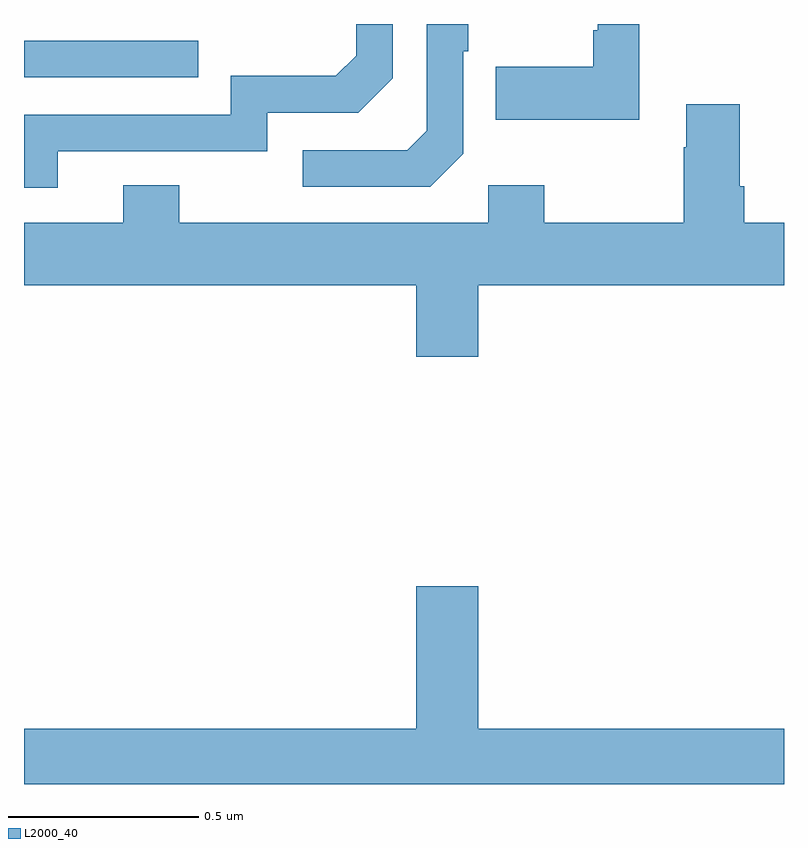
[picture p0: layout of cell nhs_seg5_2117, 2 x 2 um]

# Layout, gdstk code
import gdstk
lib = gdstk.Library(unit=1e-6, precision=1e-09)
def R(c, l, rs):  # rectangles x0, y0, x1, y1
    for r in rs: c.add(gdstk.rectangle(r[:2], r[2:], *l))
def P(c, l, *ps):  # polygons
    for p in ps: c.add(gdstk.Polygon(p, *l))
L2000_40 = (2000, 40)

nhs_seg5_2117 = lib.new_cell('nhs_seg5_2117')
R(nhs_seg5_2117, L2000_40, [(140,838.659,140.459,838.755)])
P(nhs_seg5_2117, L2000_40, [(141.156,838.458),(141.156,838.727),(141.169,838.727),(141.169,838.799),(141.06,838.799),(141.06,838.518),(141.009,838.467),(140.733,838.467),(140.733,838.371),(141.069,838.371)],
  [(141.619,838.799),(141.51,838.799),(141.51,838.783),(141.498,838.783),(141.498,838.687),(141.241,838.687),(141.241,838.547),(141.619,838.547)],
  [(140.089,838.464),(140.64,838.464),(140.64,838.566),(140.88,838.566),(140.97,838.656),(140.97,838.799),(140.874,838.799),(140.874,838.716),(140.821,838.663),(140.544,838.663),(140.544,838.56),(140,838.56),(140,838.368),(140.089,838.368)],
  [(141.196,838.112),(142,838.112),(142,838.276),(141.896,838.276),(141.896,838.372),(141.883,838.372),(141.883,838.588),(141.743,838.588),(141.743,838.475),(141.736,838.475),(141.736,838.276),(141.369,838.276),(141.369,838.375),(141.222,838.375),(141.222,838.276),(140.409,838.276),(140.409,838.375),(140.261,838.375),(140.261,838.276),(140,838.276),(140,838.112),(141.032,838.112),(141.032,837.924),(141.196,837.924)],
  [(142,836.944),(141.196,836.944),(141.196,837.319),(141.032,837.319),(141.032,836.944),(140,836.944),(140,836.799),(142,836.799)])

lib.write_gds('nhs_seg5_2117.gds')
